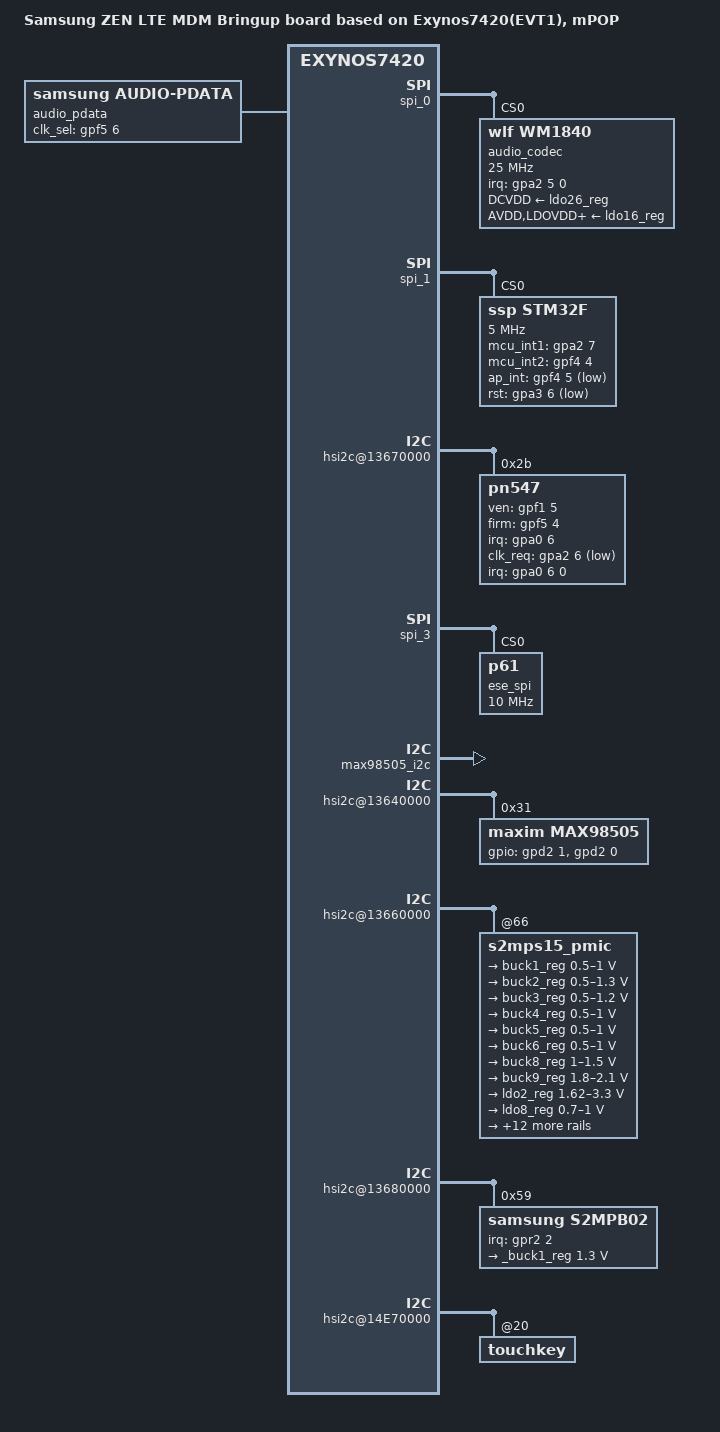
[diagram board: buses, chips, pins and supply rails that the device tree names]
/*
 * SAMSUNG UNIVERSAL7420 board device tree source
 *
 * Copyright (c) 2014 Samsung Electronics Co., Ltd.
 *		http://www.samsung.com
 *
 * This program is free software; you can redistribute it and/or modify
 * it under the terms of the GNU General Public License version 2 as
 * published by the Free Software Foundation.
*/

/dts-v1/;
#include "exynos7420-zenlte_common.dtsi"
#include "exynos7420-zenlte_eur_battery_00.dtsi"
#include "exynos7420-zenlte_gpio_chn_mdm_00.dtsi"
#include "exynos7420-zenlte_modem-mdm9x35.dtsi"
#include "exynos7420-zenlte_fingerprint-sensor_00.dtsi"
#include "exynos7420-zenlte_motor.dtsi"
#include "exynos7420-zenlte_svcled.dtsi"
#include "exynos7420-zenlte_mst.dtsi"
#include "exynos7420-zenlte_display_00.dtsi"

/ {
	model = "Samsung ZEN LTE MDM Bringup board based on Exynos7420(EVT1), mPOP";
	model_info-chip = <7420>;
	model_info-platform = "android";
	model_info-subtype = "samsung";
	model_info-hw_rev = <0>;
	model_info-hw_rev_end = <0>;
	compatible = "samsung,ZEN LTE MDM ,Bringup00", "samsung,exynos7420";

	spi_0: spi@14d20000 {
		/delete-property/ dma-mode;
		/delete-property/ dmas;
		/delete-property/ dma-names;

		num-cs = <1>;
		status = "okay";

		audio_codec: wm1840@0 {
			compatible = "wlf,wm1840";
			reg = <0x0>;
			spi-max-frequency = <25000000>;
			interrupts = <5 0 0>;
			interrupt-parent = <&gpa2>;

			gpio-controller;
			#gpio-cells = <2>;

			pinctrl-names ="default";
			pinctrl-0 = <&codec_reset &codec_irq>;

			wlf,reset = <&gpf4 0 0>;
			wlf,init-mic-delay = <30>;
			wlf,use-jd-gpio;
			wlf,micd-clamp-mode = <0x8>;
			wlf,micd-detect-debounce = <300>;
			wlf,micd-pol-gpio = <0>;
			wlf,micd-bias-start-time = <0x1>;
			wlf,micd-rate = <0x7>;
			wlf,micd-dbtime = <0x1>;
			wlf,micd-timeout = <1000>;
			wlf,micd-force-micbias;
			wlf,hpdet-moisture-imp = <2000>;
			wlf,hpdet-moisture-debounce = <40>;
			wlf,hpdet-channel = <1>;
			wlf,hpdet-ext-res = <33>;
			wlf,hpdet-short-circuit-imp = <3>;
			wlf,micd-ranges = <
				116 226
				173 582
				321 115
				752 114
				1257 217
			>;
			wlf,hs-mic = <3>;
			wlf,micd-configs = <
				0x0 2 0
			>;

			wlf,micbias1 = <1800 0 1 0 0>;
			wlf,micbias2 = <2800 0 1 0 0>;
			wlf,micbias3 = <1800 0 1 0 0>;
			wlf,micbias4 = <1800 0 1 0 0>;

			wlf,gpio-defaults = <
				0xffffffff 0xffffffff /* GPIO1 */
				0xffffffff 0xffffffff /* GPIO2 */
				0xffffffff 0xffffffff /* GPIO3 */
				0xffffffff 0xffffffff /* GPIO4 */
				0xffffffff 0xffffffff /* GPIO5 */
				0xffffffff 0xffffffff /* GPIO6 */
				0xffffffff 0xffffffff /* GPIO7 */
				0xffffffff 0xffffffff /* GPIO8 */
				0xffffffff 0xffffffff /* MIF1SCLK / GPIO9 */
				0xffffffff 0xffffffff /* MIF1SDA / GPIO10 */
				0xffffffff 0xffffffff /* MIF2SCLK / GPIO11 */
				0xffffffff 0xffffffff /* MIF2SDA / GPIO12 */
				0xffffffff 0xffffffff /* MIF3SCLK / GPIO13 */
				0xffffffff 0xffffffff /* MIF3SDA / GPIO14 */
				0x00002000 0x00006000 /* AIF1TXDAT / GPIO15 */
				0x00002000 0x00006000 /* AIF1BCLK / GPIO16 */
				0x00002000 0x00006000 /* AIF1RXDAT / GPIO17 */
				0x00002000 0x00006000 /* AIF1LRCLK / GPIO18 */
				0x00002000 0x00006000 /* AIF2TXDAT / GPIO19 */
				0x00002000 0x00006000 /* AIF2BCLK / GPIO20 */
				0x00002000 0x00006000 /* AIF2RXDAT / GPIO21 */
				0x00002000 0x00006000 /* AIF2LRCLK / GPIO22 */
				0x00002000 0x00006000 /* AIF3TXDAT / GPIO23 */
				0x00002000 0x00006000 /* AIF3BCLK / GPIO24 */
				0x00002000 0x00006000 /* AIF3RXDAT / GPIO25 */
				0x00002000 0x00006000 /* AIF3LRCLK / GPIO26 */
				0x00002000 0x00006000 /* AIF4TXDAT / GPIO27 */
				0x00002000 0x00006000 /* AIF4BCLK / GPIO28 */
				0x00002000 0x00006000 /* AIF4RXDAT / GPIO29 */
				0x00002000 0x00006000 /* AIF4LRCLK / GPIO30 */
				0x00002000 0x0000e000 /* DMICCLK4 / GPIO31 */
				0x00002000 0x0000e000 /* DMICDAT4 / GPIO32 */
				0xffffffff 0xffffffff /* DMICCLK5 / GPIO33 */
				0xffffffff 0xffffffff /* DMICDAT5 / GPIO34 */
				0xffffffff 0xffffffff /* DMICCLK6 / GPIO35 */
				0xffffffff 0xffffffff /* DMICDAT6 / GPIO36 */
				0xffffffff 0xffffffff /* SPKCLK1 / GPIO37 */
				0xffffffff 0xffffffff /* SPKCLK2 / GPIO38 */
				0xffffffff 0xffffffff /* SPKDAT1 / GPIO39 */
				0xffffffff 0xffffffff /* SPKDAT2 / GPIO40 */
			>;

			wlf,gpsw = <0x3>;
			wlf,micd-software-compare;
			wlf,micd-open-circuit-declare = <1>;
			wlf,jd-wake-time = <5000>;

			wlf,max-channels-clocked = <2 0 0 0>;
			/* 0:MICVDD 1:MICBIAS1 2:MICBIAS2 3:MICBIAS3 */
			wlf,dmic-ref = <1 2 1 0 0 0>;
			/* 1st cell:IN1L 2rd cell:IN1R 3nd cell:IN2L 4th cell:IN2R... 12th cell:IN6R */
			wlf,inmode = <2 2 1 1 2 2 2 2 0 0 0 0>;
			/* 1st cell:OUT1 2nd cell:OUT2 3rd cell:OUT3... 6th cell:OUT6 */
			wlf,out-mono = <0 1 1 0 0 0>;

			wlf,rev-specific-fw;

			DCVDD-supply = <&ldo26_reg>;
			AVDD-supply = <&ldo16_reg>;
			LDOVDD-supply = <&ldo16_reg>;
			DBVDD1-supply = <&ldo16_reg>;

			CPVDD-supply = <&ldo16_reg>;
			DBVDD2-supply = <&ldo16_reg>;
			DBVDD3-supply = <&ldo16_reg>;
			DBVDD4-supply = <&ldo16_reg>;
			SPKVDDL-supply = <&ldo16_reg>;
			SPKVDDR-supply = <&ldo16_reg>;

			adsps {
				#address-cells = <1>;
				#size-cells = <0>;

				adsp@0FFE00 {
					reg = <0x0FFE00>;
					firmware {
						TRACE {
							wlf,wmfw-file = "trace";
							wlf,bin-file = "None";
							wlf,compr-caps = <1 8 0x4 1 8000 16000 24000>;
						};
					};
				};
				adsp@17FE00 {
					reg = <0x17FE00>;
					firmware {
						TX_NB {
							wlf,wmfw-file = "tx-nb";
							wlf,bin-file = "None";
						};
						TX_WB {
							wlf,wmfw-file = "tx-wb";
							wlf,bin-file = "None";
						};
						TX_SWB_INTERVIEW {
							wlf,wmfw-file = "tx-swb";
							wlf,bin-file = "None";
						};
						TX_SWB_CONVERSATION {
							wlf,wmfw-file = "tx-swb";
							wlf,bin-file = "None";
						};
						TX_FB_MEETING {
							wlf,wmfw-file = "tx-fb-meeting";
							wlf,bin-file = "tx-fb-meeting";
						};
					};
				};
				adsp@1FFE00 {
					reg = <0x1FFE00>;
					firmware {
						TX_NB {
							wlf,wmfw-file = "tx-nb";
							wlf,bin-file = "tx-nb";
						};
						TX_WB {
							wlf,wmfw-file = "tx-wb";
							wlf,bin-file = "tx-wb";
						};
						TX_SWB_INTERVIEW {
							wlf,wmfw-file = "tx-swb";
							wlf,bin-file = "tx-swb-interview";
						};
						TX_SWB_CONVERSATION {
							wlf,wmfw-file = "tx-swb";
							wlf,bin-file = "tx-swb-conversation";
						};
						TX_WB_MEETING {
							wlf,wmfw-file = "tx-wb-meeting";
							wlf,bin-file = "tx-wb-meeting";
						};
					};
				};
				adsp@27FE00 {
					reg = <0x27FE00>;
					firmware {
						RX_NB {
							wlf,wmfw-file = "rx-anc-nb";
							wlf,bin-file = "rx-anc-nb";
						};
						RX_WB {
							wlf,wmfw-file = "rx-anc-wb";
							wlf,bin-file = "rx-anc-wb";
						};
					};
				};
				adsp@37FE00 {
					reg = <0x37FE00>;
					firmware {
						VOICECONTROL {
							wlf,wmfw-file = "ez2-control";
							wlf,bin-file = "ez2-control";
							wlf,compr-caps = <1 1 0x4 1 16000>;
						};
						LPSD {
							wlf,wmfw-file = "ez2-control";
							wlf,bin-file = "lpsd-control";
						};
					};
				};
				adsp@2FFE00 {
					reg = <0x2FFE00>;
					firmware {
						DSM {
							wlf,wmfw-file = "dsm";
							wlf,bin-file = "None";
						};
					};
				};
			};
			controller-data {
				cs-gpio = <&gpd8 1 0>;
				samsung,spi-feedback-delay = <0>;
			};
		};
	};

	spi_1: spi@14d30000 {
		#address-cells = <1>;
		#size-cells = <0>;

		pinctrl-names = "default";
		pinctrl-0 = <&spi1_mosi_sck_ssn &spi1_miso>;

		num-cs = <1>;
		status = "okay";

		STM32F@0 {
			compatible = "ssp,STM32F";
			reg = <0>;
			spi-max-frequency = <5000000>;
			spi-cpol;
			spi-cpha;
			pinctrl-names = "default";
			pinctrl-0 = <&ssp_rst &ssp_ap_int &ssp_mcu_int1 &ssp_mcu_int2>;

			gpio-controller;
			#gpio-cells = <2>;
			ssp,mcu_int1-gpio = <&gpa2 7 0x00>;
			ssp,mcu_int2-gpio = <&gpf4 4 0x00>;
			ssp,ap_int-gpio = <&gpf4 5 0x01>;
			ssp,rst-gpio = <&gpa3 6 0x01>;
			ssp,acc-position = <0>;
			ssp,mag-position = <7>;
			ssp,prox-hi_thresh = <2000>;
			ssp,prox-low_thresh = <1400>;
			ssp-glass-type = <1>;
			ssp-acc-type = <2>;
			ssp,acc-dot = <1>;
			ssp,mag-array = /bits/ 8 <120 88 105 111 98 225 1 139 211 53
						186 36 1 179 2 179 251 181 46 211
						190 0 61 186 13 5 174>;

			controller-data {
				cs-gpio = <&gpd6 3 0>;
				samsung,spi-feedback-delay = <0>;
			};
		};
	};

/*
	gps {
		compatible = "samsung,exynos54xx-bcm4753";

		pinctrl-names = "default";
		pinctrl-0 = <&ssp_gps_pwr_en &ssp_host_wake>;

		gpios = <&gpf4 7 0x1
			      &gpa3 2 0xf
				>;
		status = "okay";
	};
*/

	pinctrl@15690000 {
		ese_pwr_req: ese-pwr-req {
			samsung,pins = "gpr2-0";
			samsung,pin-function = <0x1>;
			samsung,pin-pud = <1>;
			samsung,pin-pud-pdn = <1>;
		};
		acokb_irq: acokb-irq {
			samsung,pins = "gpr1-2";
			samsung,pin-function = <0>;
			samsung,pin-pud = <0>;
			samsung,pin-drv = <0>;
		};
	};

	detectcable {
		status = "okay";
		compatible = "detectcable";
		pinctrl-names = "default";
		pinctrl-0 = <&acokb_irq>;
		acokb,gpio_detectcable = <&gpr1 2 0>;
	};

	hsi2c@13670000 {
		status = "okay";
		pn547@2B {
			compatible = "pn547";
			reg = <0x2B>;

			interrupts = <6 0 0>;
			interrupt-parent = <&gpa0>;

			pinctrl-names = "default";
			pinctrl-0 = <&nfc_pn547_en &nfc_n5_firm &ese_pwr_req>;
			pn547,ven-gpio = <&gpf1 5 0>;
			pn547,firm-gpio = <&gpf5 4 0>;
			pn547,irq-gpio = <&gpa0 6 0>;
			pn547,clk_req-gpio = <&gpa2 6 0xf>;
			pn547,pwr_req = <&gpr2 0 0x1>;
			pn547,i2c_1p8 = "VDD20_1P8_AP";
		};
	};

	spi_3: spi@14d50000 {
		status = "okay";
		#address-cells = <1>;
		#size-cells = <0>;
		pinctrl-names = "default";
		pinctrl-0 = <&spi3_bus &spi3_cs_func>;

		ese_spi@0 {
			compatible = "p61";
			reg = <0>;
			spi-max-frequency = <10000000>;

			gpio-controller;
			#gpio-cells = <2>;

			p61-mosipin = <&gpg4 3 0>;
			p61-misopin = <&gpg4 2 0>;
			p61-cspin = <&gpg4 1 0>;
			p61-clkpin = <&gpg4 0 0>;
			p3-vdd-1p8= "VDD_1.8V_ESE";

			controller-data {
				cs-gpio = <&gpg4 1 0>;
				samsung,spi-feedback-delay = <0>;
			};
		};
	};

	audio_pdata {
		compatible = "samsung,audio-pdata";
		pinctrl-names = "default";
		pinctrl-0 = <&audio_clk_sel>;

		imp_table = <
			/* min      max gain */
			   0         13    0
			  14         42    3
			  43        100    6
			 101        200    9
			 201        450   11
			 451       1000   11
			1001 0x7fffffff    6
		>;

		clk_sel_gpio = <&gpf5 6 0>;
		seamless_voicewakeup;
		status = "okay";
	};

	antenna_switch {
		status = "okay";
		compatible = "antenna_switch";
		pinctrl-names = "default";
		pinctrl-0 = <&antenna_switch_en>;
		antenna_switch,gpio_antenna_switch = <&gpr3 6 0>;
	};

	pinctrl@10580000 {
		codec_irq: codec-irq {
			samsung,pins = "gpa2-5";
			samsung,pin-function = <0xf>;
			samsung,pin-pud = <0>;
		};
		max98505_ctrl: max98505-ctl {
			samsung,pins ="gpa2-0";
			samsung,pin-function = <0>;
			samsung,pin-pud = <0>;
			samsung,pin-con-pdn =<2>;
			samsung,pin-pud-pdn = <0>;
		};
		ssp_mcu_int1: ssp-mcu-int1 {
			samsung,pins = "gpa2-7";
			samsung,pin-function = <0>;
			samsung,pin-pud = <0>;
			samsung,pin-drv = <0>;
		};
		ssp_rst: ssp-rst {
			samsung,pins = "gpa3-6";
			samsung,pin-function = <1>;
			samsung,pin-pud = <3>;
			samsung,pin-drv = <3>;
		};
		grip_irq: grip-irq {
			samsung,pins = "gpa2-6";
			samsung,pin-function = <0xf>;
			samsung,pin-pud = <0>;
			samsung,pin-drv = <3>;
		};
		grip_ldo: grip-ldo {
			samsung,pins = "gpr1-5";
			samsung,pin-function = <0xf>;
			samsung,pin-pud = <0>;
			samsung,pin-drv = <3>;
		};
	};

	pinctrl@13470000 {
		max98505_i2c: max98505-i2c {
			samsung,pins = "gpd2-0", "gpd2-1";
			samsung,pin-pud = <0>;
			status = "okay";
		};
	};

	pinctrl@14870000 {
		codec_reset: codec-reset {
			samsung,pins ="gpf4-0";
			samsung,pin-function = <1>;
			samsung,pin-pud = <1>;
			samsung,pin-con-pdn =<3>;
			samsung,pin-pud-pdn = <1>;
			samsung,pin-val = <0>;
		};
		audio_clk_sel: audio-clk-sel {
			samsung,pins ="gpf5-6";
			samsung,pin-function = <1>;
			samsung,pin-pud = <1>;
			samsung,pin-con-pdn =<3>;
			samsung,pin-pud-pdn = <1>;
			samsung,pin-val = <0>;
		};
		ssp_mcu_int2: ssp-mcu-int2 {
			samsung,pins = "gpf4-4";
			samsung,pin-function = <0>;
			samsung,pin-pud = <0>;
			samsung,pin-drv = <0>;
		};
		ssp_ap_int: ssp-ap-int {
			samsung,pins = "gpf4-5";
			samsung,pin-function = <1>;
			samsung,pin-pud = <3>;
			samsung,pin-drv = <3>;
		};
		sub_det: sub-det {
			samsung,pins = "gpf4-7";
			samsung,pin-function = <0>;
			samsung,pin-pud = <0>;
			samsung,pin-drv = <0>;
		};
	};

	pinctrl@15690000 {
		sub_pmic_irq: sub-pmic-irq {
			samsung,pins ="gpr2-2";
			samsung,pin-function = <0>;
			samsung,pin-pud = <0>;
			samsung,pin-drv = <0>;
		};		
		antenna_switch_en: antenna-switch-en {
                        samsung,pins = "gpr3-6";
                        samsung,pin-function = <1>;
                        samsung,pin-pud = <0>;
                        samsung,pin-val = <0>;
                };		
	};

	hsi2c@13640000 {
		status = "okay";
		max98505@31 {
			compatible = "maxim,max98505";
			reg = <0x31>;
			pinctrl-names = "default";
			pinctrl-0 = <&max98505_i2c &max98505_ctrl>;
			gpios = <&gpd2 1 0
				&gpd2 0 0
				>;
			i2c-gpio,delay-us = <2>;
			maxim,platform_type = <0>;
			maxim,spk_vol = <0x14>;
			maxim,sysclk = <12288000>;
			maxim,vmon_slot = <0>;
			maxim,platform_info = <0 0x4000 0x0F010203 0x0FF10203 0x00000000 40>;
			maxim,boost_step = <
								0x0F 0x0F 0x0F 0x0F
								0x0F 0x0F 0x0F 0x0F
								0x0F 0x0F 0x0F 0x0F
								0x0F 0x0F 0x02 0x00
								>;
			maxim,adc_threshold = <7>;
		};
	};

	hsi2c@13660000 {
		s2mps15_pmic@66 {
			regulators {
				buck1_reg: BUCK1 {
					regulator-name = "vdd_mif";
					regulator-min-microvolt = <500000>;
					regulator-max-microvolt = <1000000>;
					regulator-always-on;
					regulator-boot-on;
					regulator-ramp-delay = <12000>;
					regulator-initial-mode = <1>;
				};

				buck2_reg: BUCK2 {
					regulator-name = "vdd_atlas";
					regulator-min-microvolt = <500000>;
					regulator-max-microvolt = <1300000>;
					regulator-always-on;
					regulator-boot-on;
					regulator-ramp-delay = <12000>;
					regulator-initial-mode = <1>;
				};

				buck3_reg: BUCK3 {
					regulator-name = "vdd_apollo";
					regulator-min-microvolt = <500000>;
					regulator-max-microvolt = <1200000>;
					regulator-always-on;
					regulator-boot-on;
					regulator-ramp-delay = <12000>;
					regulator-initial-mode = <1>;
				};

				buck4_reg: BUCK4 {
					regulator-name = "vdd_int";
					regulator-min-microvolt = <500000>;
					regulator-max-microvolt = <1000000>;
					regulator-always-on;
					regulator-boot-on;
					regulator-ramp-delay = <12000>;
					regulator-initial-mode = <1>;
				};

				buck5_reg: BUCK5 {
					regulator-name = "vdd_disp_cam0";
					regulator-min-microvolt = <500000>;
					regulator-max-microvolt = <1000000>;
					regulator-always-on;
					regulator-boot-on;
					regulator-ramp-delay = <12000>;
					regulator-initial-mode = <1>;
				};

				buck6_reg: BUCK6 {
					regulator-name = "vdd_g3d";
					regulator-min-microvolt = <500000>;
					regulator-max-microvolt = <1000000>;
					regulator-always-on;
					regulator-boot-on;
					regulator-ramp-delay = <12000>;
					regulator-initial-mode = <1>;
				};

				buck8_reg: BUCK8 {
					regulator-name = "vdd_lldo";
					regulator-min-microvolt = <1000000>;
					regulator-max-microvolt = <1500000>;
					regulator-always-on;
					regulator-ramp-delay = <12000>;
					regulator-initial-mode = <3>;
				};

				buck9_reg: BUCK9 {
					regulator-name = "vdd_mldo";
					regulator-min-microvolt = <1800000>;
					regulator-max-microvolt = <2100000>;
					regulator-always-on;
					regulator-ramp-delay = <12000>;
					regulator-initial-mode = <3>;
				};

				ldo2_reg: LDO2 {
					regulator-name = "vqmmc";
					regulator-min-microvolt = <1620000>;
					regulator-max-microvolt = <3300000>;
					regulator-ramp-delay = <12000>;
					regulator-initial-mode = <1>;
					regulator-boot-on;
				};

				ldo8_reg: LDO8 {
					regulator-name = "vdd_ldo8";
					regulator-min-microvolt = <700000>;
					regulator-max-microvolt = <1000000>;
					regulator-always-on;
					regulator-initial-mode = <1>;
				};

				ldo15_reg: LDO15 {
					regulator-name = "tsp_io";
					regulator-min-microvolt = <1850000>;
					regulator-max-microvolt = <1850000>;
				};

				ldo16_reg: LDO16 {
					regulator-name = "VCC_1.8V_CODEC_PMIC";
					regulator-min-microvolt = <1800000>;
					regulator-max-microvolt = <1800000>;
				};

				ldo17_reg: LDO17 {
					regulator-name = "VCC_MOTOR_3.0";
					regulator-min-microvolt = <3000000>;
					regulator-max-microvolt = <3000000>;
				};

				ldo18_reg: LDO18 {
					regulator-name = "HRM_VDD_1.8V";
					regulator-min-microvolt = <1800000>;
					regulator-max-microvolt = <1850000>;
				};

				ldo19_reg: LDO19 {
					regulator-name = "MST_LEVEL_3.0V";
					regulator-min-microvolt = <3000000>;
					regulator-max-microvolt = <3000000>;
				};

				ldo20_reg: LDO20 {
					regulator-name = "VDD20_1P8_AP";
					regulator-min-microvolt = <1800000>;
					regulator-max-microvolt = <1800000>;
				};

				ldo21_reg: LDO21 {
					regulator-name = "vtouch_3.3v";
					regulator-min-microvolt = <3300000>;
					regulator-max-microvolt = <3300000>;
				};

				ldo22_reg: LDO22 {
					regulator-name = "VDD22_1P2_AP";
					regulator-min-microvolt = <1200000>;
					regulator-max-microvolt = <1200000>;
				};

				ldo23_reg: LDO23 {
					regulator-name = "VDD_1.8V_ESE";
					regulator-min-microvolt = <1800000>;
					regulator-max-microvolt = <1800000>;
				};

				ldo24_reg: LDO24 {
					regulator-name = "V_HRM_3.3V";
					regulator-min-microvolt = <3300000>;
					regulator-max-microvolt = <3350000>;
				};

				ldo25_reg: LDO25 {
					regulator-name = "PROX_LED_3.3V";
					regulator-min-microvolt = <3300000>;
					regulator-max-microvolt = <3300000>;
				};

				ldo26_reg: LDO26 {
					regulator-name = "VDD_1.2V_CODEC";
					regulator-min-microvolt = <1200000>;
					regulator-max-microvolt = <1200000>;
				};
			};
		};
	};

	hsi2c@13680000 {
		status = "okay";

		s2mpb02@59 {
			compatible = "samsung,s2mpb02";
			reg = <0x59>;

			s2mpb02,irq-gpio = <&gpr2 2 0>;
			pinctrl-names = "default";
			pinctrl-0 = <&sub_pmic_irq>;

			regulators {
				_buck1_reg: s2mpb02-buck1 {
					regulator-name = "VDD_PB02_1P3";
					regulator-min-microvolt = <1300000>;
					regulator-max-microvolt = <1300000>;
					regulator-always-on;
					regulator-boot-on;
				};
			};
		};
	};

	hsi2c@14E70000 {
		touchkey@20 {
			abov,sub-det = <&gpf4 7 0>;
		};
	};

	dwmmc0@15740000 {
		status = "disabled";
	};

	dwmmc2@15560000 {
		vdd_vmmc-supply = <&ldo25_reg>;
		vqmmc-supply = <&ldo2_reg>;
	};
};
